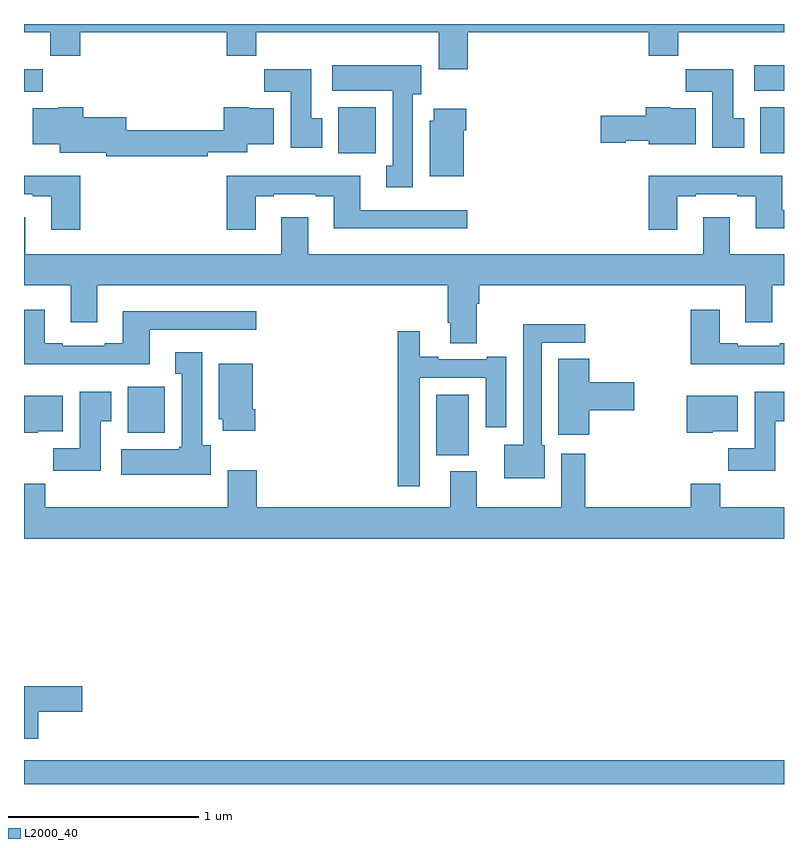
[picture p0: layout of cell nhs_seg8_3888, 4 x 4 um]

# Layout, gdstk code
import gdstk
lib = gdstk.Library(unit=1e-6, precision=1e-09)
def R(c, l, rs):  # rectangles x0, y0, x1, y1
    for r in rs: c.add(gdstk.rectangle(r[:2], r[2:], *l))
def P(c, l, *ps):  # polygons
    for p in ps: c.add(gdstk.Polygon(p, *l))
L2000_40 = (2000, 40)

nhs_seg8_3888 = lib.new_cell('nhs_seg8_3888')
R(nhs_seg8_3888, L2000_40, [(351,1089.9,355,1090.024), (353.171,1091.63,353.341,1091.95), (351.545,1091.75,351.742,1091.992), (352.655,1093.22,352.852,1093.462), (354.875,1093.22,355,1093.462), (351,1093.544,351.098,1093.663), (354.843,1093.55,355,1093.684)])
P(nhs_seg8_3888, L2000_40, [(353.336,1093.856),(354.287,1093.856),(354.287,1093.732),(354.443,1093.732),(354.443,1093.856),(355,1093.856),(355,1093.9),(351,1093.9),(351,1093.856),(351.139,1093.856),(351.139,1093.732),(351.296,1093.732),(351.296,1093.856),(352.067,1093.856),(352.067,1093.732),(352.223,1093.732),(352.223,1093.856),(353.183,1093.856),(353.183,1093.662),(353.336,1093.662)],
  [(353.047,1093.53),(353.092,1093.53),(353.092,1093.684),(352.623,1093.684),(352.623,1093.55),(352.94,1093.55),(352.94,1093.154),(352.907,1093.154),(352.907,1093.041),(353.047,1093.041)],
  [(352.57,1093.404),(352.513,1093.404),(352.513,1093.663),(352.264,1093.663),(352.264,1093.544),(352.403,1093.544),(352.403,1093.248),(352.57,1093.248)],
  [(354.79,1093.404),(354.733,1093.404),(354.733,1093.663),(354.484,1093.663),(354.484,1093.544),(354.623,1093.544),(354.623,1093.248),(354.79,1093.248)],
  [(351.968,1093.224),(352.174,1093.224),(352.174,1093.268),(352.315,1093.268),(352.315,1093.456),(352.182,1093.456),(352.182,1093.462),(352.052,1093.462),(352.052,1093.34),(351.538,1093.34),(351.538,1093.408),(351.311,1093.408),(351.311,1093.462),(351.18,1093.462),(351.18,1093.456),(351.047,1093.456),(351.047,1093.268),(351.188,1093.268),(351.188,1093.223),(351.434,1093.223),(351.434,1093.204),(351.968,1093.204)],
  [(354.535,1093.456),(354.402,1093.456),(354.402,1093.462),(354.272,1093.462),(354.272,1093.416),(354.036,1093.416),(354.036,1093.274),(354.168,1093.274),(354.168,1093.286),(354.288,1093.286),(354.288,1093.268),(354.535,1093.268)],
  [(353.314,1093.34),(353.327,1093.34),(353.327,1093.453),(353.156,1093.453),(353.156,1093.392),(353.135,1093.392),(353.135,1093.1),(353.314,1093.1)],
  [(351.296,1093.102),(351,1093.102),(351,1093.005),(351.047,1093.005),(351.047,1092.993),(351.143,1092.993),(351.143,1092.816),(351.296,1092.816)],
  [(352.219,1092.993),(352.315,1092.993),(352.315,1093.005),(352.535,1093.005),(352.535,1092.993),(352.631,1092.993),(352.631,1092.824),(353.332,1092.824),(353.332,1092.921),(352.771,1092.921),(352.771,1093.102),(352.067,1093.102),(352.067,1092.816),(352.219,1092.816)],
  [(354.439,1092.993),(354.535,1092.993),(354.535,1093.005),(354.755,1093.005),(354.755,1092.993),(354.851,1092.993),(354.851,1092.824),(355,1092.824),(355,1092.921),(354.991,1092.921),(354.991,1093.102),(354.287,1093.102),(354.287,1092.816),(354.439,1092.816)],
  [(353.383,1092.428),(353.396,1092.428),(353.396,1092.524),(354.797,1092.524),(354.797,1092.33),(354.937,1092.33),(354.937,1092.524),(355,1092.524),(355,1092.688),(354.715,1092.688),(354.715,1092.883),(354.575,1092.883),(354.575,1092.688),(352.495,1092.688),(352.495,1092.883),(352.355,1092.883),(352.355,1092.688),(351.007,1092.688),(351.007,1092.883),(351,1092.883),(351,1092.524),(351.245,1092.524),(351.245,1092.33),(351.385,1092.33),(351.385,1092.524),(353.231,1092.524),(353.231,1092.328),(353.243,1092.328),(353.243,1092.22),(353.383,1092.22)],
  [(355,1092.22),(354.977,1092.22),(354.977,1092.207),(354.757,1092.207),(354.757,1092.22),(354.661,1092.22),(354.661,1092.397),(354.509,1092.397),(354.509,1092.11),(355,1092.11)],
  [(351.661,1092.291),(352.222,1092.291),(352.222,1092.388),(351.521,1092.388),(351.521,1092.22),(351.425,1092.22),(351.425,1092.207),(351.205,1092.207),(351.205,1092.22),(351.109,1092.22),(351.109,1092.397),(351,1092.397),(351,1092.11),(351.661,1092.11)],
  [(353.74,1091.682),(353.724,1091.682),(353.724,1092.222),(353.953,1092.222),(353.953,1092.32),(353.628,1092.32),(353.628,1091.686),(353.528,1091.686),(353.528,1091.51),(353.74,1091.51)],
  [(353.082,1092.039),(353.429,1092.039),(353.429,1091.778),(353.539,1091.778),(353.539,1092.148),(353.435,1092.148),(353.435,1092.135),(353.179,1092.135),(353.179,1092.148),(353.083,1092.148),(353.083,1092.283),(352.966,1092.283),(352.966,1091.466),(353.082,1091.466)],
  [(351.982,1091.682),(351.937,1091.682),(351.937,1092.172),(351.797,1092.172),(351.797,1092.059),(351.83,1092.059),(351.83,1091.676),(351.817,1091.676),(351.817,1091.662),(351.513,1091.662),(351.513,1091.528),(351.982,1091.528)],
  [(353.975,1091.867),(354.211,1091.867),(354.211,1092.014),(353.975,1092.014),(353.975,1092.137),(353.813,1092.137),(353.813,1091.739),(353.975,1091.739)],
  [(352.217,1091.872),(352.204,1091.872),(352.204,1092.112),(352.025,1092.112),(352.025,1091.82),(352.046,1091.82),(352.046,1091.76),(352.217,1091.76)],
  [(351.403,1091.809),(351.46,1091.809),(351.46,1091.965),(351.293,1091.965),(351.293,1091.668),(351.154,1091.668),(351.154,1091.55),(351.403,1091.55)],
  [(354.955,1091.809),(355,1091.809),(355,1091.965),(354.845,1091.965),(354.845,1091.668),(354.706,1091.668),(354.706,1091.55),(354.955,1091.55)],
  [(354.624,1091.756),(354.757,1091.756),(354.757,1091.944),(354.488,1091.944),(354.488,1091.75),(354.624,1091.75)],
  [(351.072,1091.756),(351.205,1091.756),(351.205,1091.944),(351,1091.944),(351,1091.75),(351.072,1091.75)],
  [(355,1091.356),(354.665,1091.356),(354.665,1091.48),(354.509,1091.48),(354.509,1091.356),(353.954,1091.356),(353.954,1091.638),(353.828,1091.638),(353.828,1091.356),(353.383,1091.356),(353.383,1091.545),(353.243,1091.545),(353.243,1091.356),(352.226,1091.356),(352.226,1091.551),(352.073,1091.551),(352.073,1091.356),(351.113,1091.356),(351.113,1091.48),(351,1091.48),(351,1091.192),(355,1091.192)],
  [(351.076,1090.28),(351.307,1090.28),(351.307,1090.415),(351,1090.415),(351,1090.139),(351.076,1090.139)])

lib.write_gds('nhs_seg8_3888.gds')
